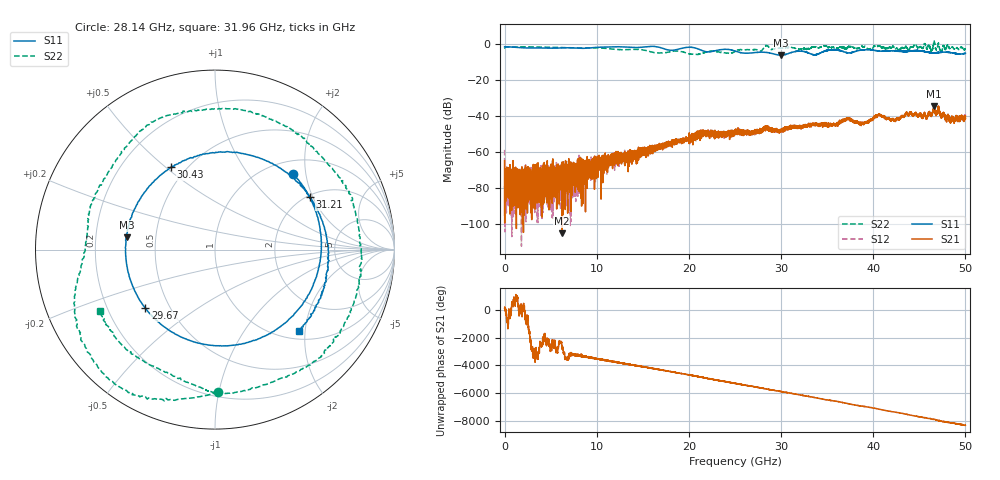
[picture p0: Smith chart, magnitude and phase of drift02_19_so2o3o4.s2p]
!Created with skrf (http://scikit-rf.org).
# Hz S RI R 50.0
!freq ReS11 ImS11 ReS21 ImS21 ReS12 ImS12 ReS22 ImS22
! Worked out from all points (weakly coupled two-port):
!   10001 points, 300 kHz to 50 GHz, reference 50 ohm
!   highest |S21| = -34.36 dB at 46.61 GHz (marker M1); lowest = -105.5 dB at 6.22 GHz (marker M2)
!   lowest |S11| = -6.1 dB at 30.03 GHz (marker M3), VSWR 2.98, Z = 16.9 + j3.03 ohm
!   |S11| at or under -10 dB: nowhere
!   |S22| runs from -5.7 to 2.2 dB; largest |S21 - S12| = 0.0043
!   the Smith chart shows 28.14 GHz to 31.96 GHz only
!   S11 on the Smith chart (normalised r, x): 28.14 GHz: 1.27, +1.70; 29.67 GHz: 0.37, -0.32; 30.43 GHz: 0.41, +0.52; 31.21 GHz: 2.07, +1.89; 31.96 GHz: 1.18, -1.86
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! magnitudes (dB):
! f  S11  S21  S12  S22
! 300 kHz  -1.3  -64.9  -58.9  -2.0
! 255.3 MHz  -1.4  -76.3  -81.6  -1.4
! 490.3 MHz  -1.4  -78.4  -75.1  -1.5
! 6.22 GHz  -1.9  -105.5  -74.2  -1.8
! 8.335 GHz  -2.2  -82.7  -69.4  -1.9
! 16.67 GHz  -1.4  -57.4  -57.8  -4.7
! 21.49 GHz  -3.5  -49.1  -50.3  -4.8
! 25 GHz  -3.7  -48.1  -48.7  -3.9
! 28.14 GHz  -4.3  -45.9  -47.5  -2.0
! 29.67 GHz  -5.9  -47.9  -48.4  -2.1
! 30.03 GHz  -6.1  -48.6  -47.9  -2.0
! 30.43 GHz  -5.7  -47.1  -47.4  -1.8
! 31.21 GHz  -4.4  -46.5  -46.0  -1.8
! 31.96 GHz  -3.7  -46.1  -46.2  -2.8
! 33.34 GHz  -5.5  -45.0  -44.7  -1.6
! 37.3 GHz  -4.7  -41.2  -41.3  -1.4
! 38.89 GHz  -3.0  -44.0  -44.2  -1.3
! 40.66 GHz  -3.7  -39.3  -39.0  -0.9
! 41.67 GHz  -3.7  -41.7  -41.2  -1.9
! 46.61 GHz  -4.7  -34.4  -34.1  2.2
! 48.53 GHz  -4.7  -40.6  -40.6  -1.7
! 50 GHz  -5.0  -39.8  -41.8  -2.7
